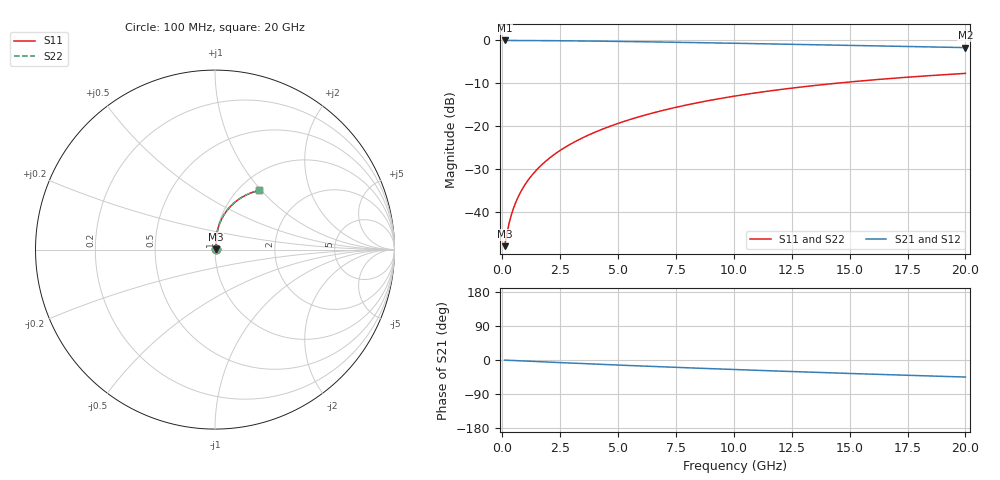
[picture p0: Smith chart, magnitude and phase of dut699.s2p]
! Touchstone file exported from HFSS 2024.1.0
!  File:  C:/UserFiles/LocalFiles/RDL_TSV_Batchsim/temp_RDL_bottom_699_1779787336.aedt
!  Generated:  05:24:52 PM May 26, 2026
!  Design:  RDL_bottom
!  Project:  temp_RDL_bottom_699_1779787336
!  Setup:  Setup1
!  Solution:  Sweep
! Variables:
!  dtsv = 10.80580581um
!  hbump = 3um
!  htsv = 83.62um
!  ldown = 602.68um
!  lrdl = 100um
!  p = 40
!  p1 = 58.73um
!  rhole = 1um
!  t = 450um
!  tdown = 2.92um
!  trdl = 3.915915916um
!  wdown = 23.96um
!  wrdl = 20um
# GHz S MA R 50.000000
! Terminal data exported
! Port[1] = RDL1_T1
! Port[2] = RDL1_T2
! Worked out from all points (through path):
!   200 points, 100 MHz to 20 GHz, reference 50 ohm
!   highest |S21| = -0.03 dB at 100 MHz (marker M1); lowest = -1.7 dB at 20 GHz (marker M2)
!   group delay of S21, straight-line fit = 6.2 ps
!   lowest |S11| = -48.0 dB at 100 MHz (marker M3), VSWR 1.01, Z = 50.3 + j0.227 ohm
!   |S11| at or under -10 dB: start of sweep to 14.43 GHz
!   |S22| runs from -48.0 to -7.7 dB; largest |S21 - S12| = 2.7e-15
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0.1  0.003997 34.4  0.9967 -0.3  0.9967 -0.3  0.003997 34.4
! Gamma 0 0 0 0
! Port Impedance 50 0 50 0
0.2  0.005628 52.4  0.9965 -0.6  0.9965 -0.6  0.005628 52.4
0.3  0.007506 61.4  0.9963 -0.9  0.9963 -0.9  0.007506 61.4
0.4  0.009436 66.6  0.9961 -1.1  0.9961 -1.1  0.009436 66.6
0.5  0.01138 70.0  0.9959 -1.4  0.9959 -1.4  0.01138 70.0
0.6  0.01332 72.5  0.9957 -1.7  0.9957 -1.7  0.01332 72.5
0.8  0.01725 75.9  0.9952 -2.2  0.9952 -2.2  0.01725 76.0
1.1  0.02322 79.0  0.9945 -3.1  0.9945 -3.1  0.02322 79.0
1.3  0.02725 80.4  0.9939 -3.6  0.9939 -3.6  0.02725 80.4
1.6  0.03337 81.7  0.993 -4.4  0.993 -4.4  0.03337 81.7
2.1  0.04374 83.0  0.991 -5.8  0.991 -5.8  0.04374 83.0
2.7  0.05646 83.7  0.988 -7.4  0.988 -7.4  0.05647 83.7
3.5  0.07386 83.8  0.9832 -9.5  0.9832 -9.5  0.07387 83.8
4.2  0.08947 83.4  0.9783 -11.3  0.9783 -11.3  0.08949 83.4
5  0.1077 82.5  0.972 -13.3  0.972 -13.3  0.1077 82.6
6.8  0.1495 79.8  0.9561 -17.8  0.9561 -17.8  0.1495 79.8
8.4  0.1867 76.7  0.9407 -21.5  0.9407 -21.5  0.1868 76.7
10.1  0.2255 73.2  0.9237 -25.3  0.9237 -25.3  0.2256 73.2
11.7  0.2606 69.8  0.9073 -28.8  0.9073 -28.8  0.2607 69.8
13.4  0.296 66.2  0.8898 -32.3  0.8898 -32.3  0.2961 66.2
16.7  0.3582 59.4  0.8559 -38.8  0.8559 -38.8  0.3584 59.4
20  0.4117 53.1  0.8228 -45.0  0.8228 -45.0  0.4119 53.1
